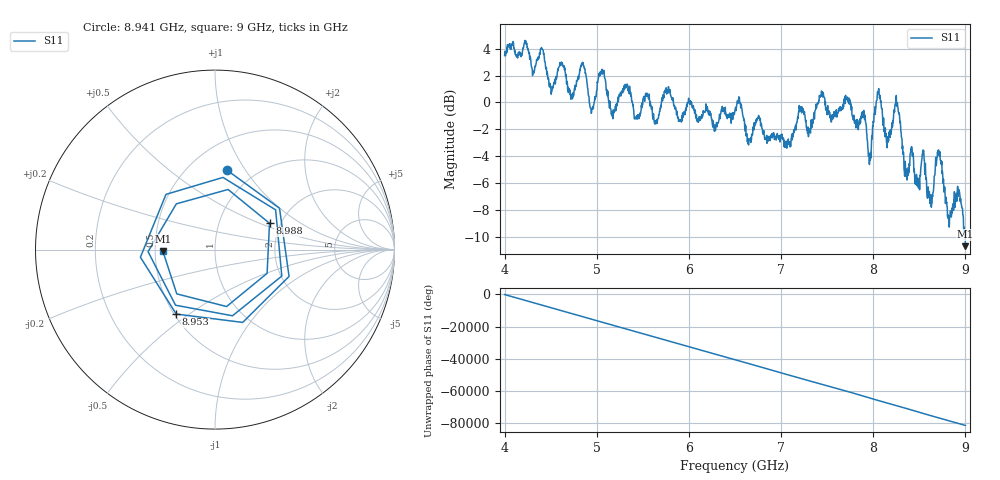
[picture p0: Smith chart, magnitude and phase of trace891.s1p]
! Created with skrf 1.8.0 (http://scikit-rf.org).
# Hz S RI R 50.0
!freq ReS11 ImS11
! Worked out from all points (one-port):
!   1601 points, 4 GHz to 9 GHz, reference 50 ohm
!   lowest |S11| = -10.7 dB at 9 GHz (marker M1), VSWR 1.82, Z = 27.5 - j0.445 ohm
!   |S11| at or under -10 dB: 8.997803 GHz to end of sweep
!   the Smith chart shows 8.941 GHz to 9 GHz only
!   S11 on the Smith chart (normalised r, x): 8.941 GHz: 0.75, +0.83; 8.953 GHz: 0.51, -0.45; 8.988 GHz: 1.75, +0.58; 9 GHz: 0.55, -0.01
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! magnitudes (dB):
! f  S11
! 4 GHz  3.5
! 4.403 GHz  4.0
! 4.506 GHz  0.6
! 4.625 GHz  3.0
! 4.725 GHz  0.4
! 4.853 GHz  2.8
! 4.944 GHz  -0.7
! 5.053 GHz  2.3
! 5.172 GHz  -0.9
! 5.25 GHz  0.5
! 5.875 GHz  -1.1
! 6.5 GHz  -0.5
! 7.125 GHz  -2.3
! 7.441 GHz  0.8
! 7.75 GHz  0.2
! 7.959 GHz  -4.6
! 8.053 GHz  0.7
! 8.153 GHz  -2.6
! 8.259 GHz  0.0
! 8.375 GHz  -5.5
! 8.541 GHz  -3.6
! 8.625 GHz  -6.9
! 8.712 GHz  -3.8
! 8.825 GHz  -9.3
! 8.941 GHz  -7.0
! 8.953 GHz  -7.6
! 8.988 GHz  -9.4
! 9 GHz  -10.7
